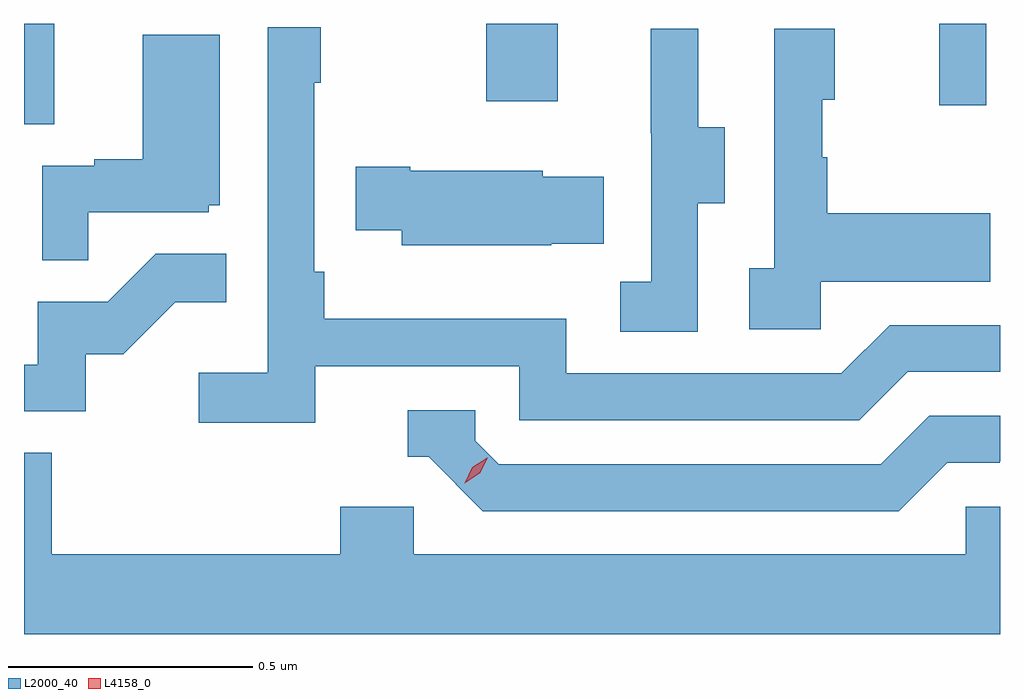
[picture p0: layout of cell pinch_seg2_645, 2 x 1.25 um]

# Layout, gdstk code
import gdstk
lib = gdstk.Library(unit=1e-6, precision=1e-09)
def R(c, l, rs):  # rectangles x0, y0, x1, y1
    for r in rs: c.add(gdstk.rectangle(r[:2], r[2:], *l))
def P(c, l, *ps):  # polygons
    for p in ps: c.add(gdstk.Polygon(p, *l))
L2000_40 = (2000, 40)
L4158_0 = (4158, 0)

pinch_seg2_645 = lib.new_cell('pinch_seg2_645')
R(pinch_seg2_645, L2000_40, [(1060.427,590.074,1060.489,590.28), (1062.302,590.112,1062.399,590.28), (1061.374,590.121,1061.521,590.28)])
P(pinch_seg2_645, L2000_40, [(1061.024,589.578),(1061.442,589.578),(1061.442,589.467),(1062.139,589.467),(1062.238,589.566),(1062.427,589.566),(1062.427,589.662),(1062.201,589.662),(1062.102,589.563),(1061.538,589.563),(1061.538,589.675),(1061.042,589.675),(1061.042,589.771),(1061.022,589.771),(1061.022,590.159),(1061.035,590.159),(1061.035,590.272),(1060.926,590.272),(1060.926,589.564),(1060.785,589.564),(1060.785,589.462),(1061.024,589.462)],
  [(1061.808,589.912),(1061.863,589.912),(1061.863,590.067),(1061.809,590.067),(1061.809,590.269),(1061.711,590.269),(1061.711,590.055),(1061.712,590.055),(1061.712,589.751),(1061.649,589.751),(1061.649,589.648),(1061.808,589.648)],
  [(1062.06,589.751),(1062.407,589.751),(1062.407,589.891),(1062.073,589.891),(1062.073,590.006),(1062.063,590.006),(1062.063,590.124),(1062.088,590.124),(1062.088,590.269),(1061.964,590.269),(1061.964,589.778),(1061.913,589.778),(1061.913,589.653),(1062.06,589.653)],
  [(1060.559,589.893),(1060.806,589.893),(1060.806,589.908),(1060.828,589.908),(1060.828,590.257),(1060.67,590.257),(1060.67,590.002),(1060.571,590.002),(1060.571,589.989),(1060.464,589.989),(1060.464,589.795),(1060.559,589.795)],
  [(1061.507,589.829),(1061.615,589.829),(1061.615,589.966),(1061.49,589.966),(1061.49,589.978),(1061.218,589.978),(1061.218,589.986),(1061.107,589.986),(1061.107,589.856),(1061.201,589.856),(1061.201,589.826),(1061.507,589.826)],
  [(1060.554,589.602),(1060.63,589.602),(1060.737,589.709),(1060.841,589.709),(1060.841,589.808),(1060.697,589.808),(1060.599,589.71),(1060.455,589.71),(1060.455,589.581),(1060.427,589.581),(1060.427,589.485),(1060.554,589.485)],
  [(1062.319,589.38),(1062.426,589.38),(1062.426,589.383),(1062.427,589.383),(1062.427,589.476),(1062.282,589.476),(1062.183,589.377),(1061.4,589.377),(1061.352,589.425),(1061.352,589.488),(1061.213,589.488),(1061.213,589.392),(1061.256,589.392),(1061.367,589.281),(1062.22,589.281)],
  [(1062.427,589.29),(1062.357,589.29),(1062.357,589.192),(1061.226,589.192),(1061.226,589.29),(1061.075,589.29),(1061.075,589.192),(1060.484,589.192),(1060.484,589.4),(1060.427,589.4),(1060.427,589.028),(1062.427,589.028)])
P(pinch_seg2_645, L4158_0, [(1061.33,589.338),(1061.33,589.338),(1061.346,589.371),(1061.376,589.39),(1061.377,589.39),(1061.377,589.39),(1061.361,589.358),(1061.33,589.338)])

lib.write_gds('pinch_seg2_645.gds')
